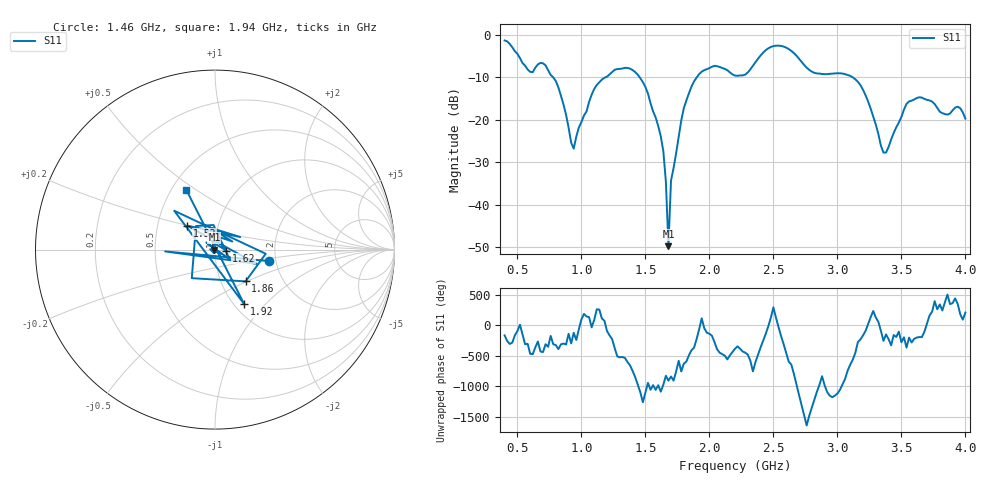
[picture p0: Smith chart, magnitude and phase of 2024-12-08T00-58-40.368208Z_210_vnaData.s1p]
!Created with skrf (http://scikit-rf.org).
# Hz S RI R 50.0
!freq ReS11 ImS11
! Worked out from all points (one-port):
!   181 points, 400 MHz to 4 GHz, reference 50 ohm
!   lowest |S11| = -49.7 dB at 1.68 GHz (marker M1), VSWR 1.01, Z = 49.7 + j0.0225 ohm
!   |S11| at or under -10 dB: 779.9 MHz to 1.188 GHz (408.4 MHz wide, 41.5 % of centre); 1.455 GHz to 1.902 GHz (446.2 MHz wide, 26.6 % of centre); 3.12 GHz to end of sweep
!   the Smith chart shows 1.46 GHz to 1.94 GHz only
!   S11 on the Smith chart (normalised r, x): 1.46 GHz: 1.84, -0.26; 1.52 GHz: 0.71, +0.20; 1.62 GHz: 1.14, -0.01; 1.86 GHz: 1.31, -0.49; 1.92 GHz: 1.11, -0.77; 1.94 GHz: 0.59, +0.46
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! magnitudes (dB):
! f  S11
! 400 MHz  -1.3
! 600 MHz  -8.7
! 720 MHz  -7.2
! 860 MHz  -16.4
! 940 MHz  -26.8
! 1.1 GHz  -12.7
! 1.3 GHz  -8.0
! 1.46 GHz  -10.2
! 1.52 GHz  -13.8
! 1.62 GHz  -23.8
! 1.66 GHz  -34.6
! 1.68 GHz  -49.7
! 1.7 GHz  -34.3
! 1.76 GHz  -24.1
! 1.86 GHz  -12.2
! 1.92 GHz  -9.3
! 1.94 GHz  -8.7
! 2.2 GHz  -9.6
! 2.48 GHz  -2.9
! 2.66 GHz  -4.3
! 2.82 GHz  -8.9
! 3.1 GHz  -9.7
! 3.22 GHz  -14.2
! 3.36 GHz  -27.7
! 3.56 GHz  -15.7
! 3.86 GHz  -18.8
! 3.94 GHz  -16.9
! 4 GHz  -19.7
